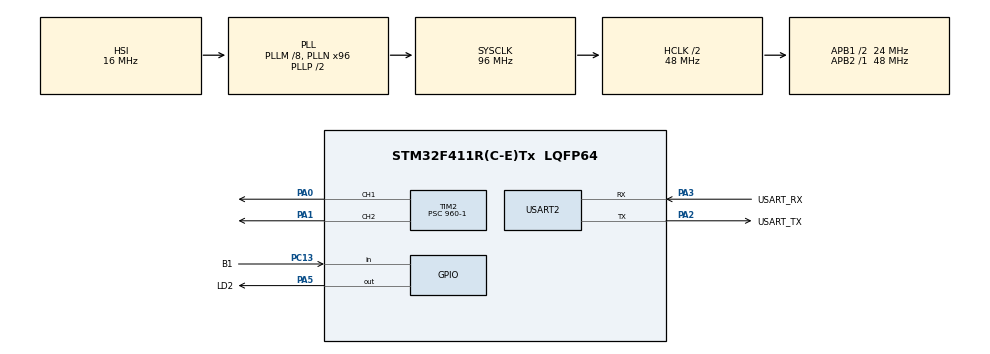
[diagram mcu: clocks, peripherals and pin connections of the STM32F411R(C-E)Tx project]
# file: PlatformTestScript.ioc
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Mcu.Family=STM32F4
Mcu.Name=STM32F411R(C-E)Tx
Mcu.Package=LQFP64
NVIC.PriorityGroup=NVIC_PRIORITYGROUP_0
NVIC.TIM2_IRQn=true\:0\:0\:false\:false\:true\:true\:true\:true
NVIC.USART2_IRQn=true\:0\:0\:false\:false\:true\:true\:true\:true
PA0-WKUP.Signal=S_TIM2_CH1_ETR
PA1.Signal=S_TIM2_CH2
PA13.GPIO_Label=TMS
PA13.Mode=Serial_Wire
PA13.Signal=SYS_JTMS-SWDIO
PA14.GPIO_Label=TCK
PA14.Mode=Serial_Wire
PA14.Signal=SYS_JTCK-SWCLK
PA2.GPIO_Label=USART_TX
PA2.Mode=Asynchronous
PA2.Signal=USART2_TX
PA3.GPIO_Label=USART_RX
PA3.Mode=Asynchronous
PA3.Signal=USART2_RX
PA5.GPIO_Label=LD2
PA5.Signal=GPIO_Output
PB3.GPIO_Label=SWO
PB3.Signal=SYS_JTDO-SWO
PC13-ANTI_TAMP.GPIO_Label=B1
PC13-ANTI_TAMP.Signal=GPIO_Input
PC14-OSC32_IN.Mode=LSE-External-Oscillator
PC14-OSC32_IN.Signal=RCC_OSC32_IN
PC15-OSC32_OUT.Mode=LSE-External-Oscillator
PC15-OSC32_OUT.Signal=RCC_OSC32_OUT
PH0\ -\ OSC_IN.Mode=HSE-External-Oscillator
PH0\ -\ OSC_IN.Signal=RCC_OSC_IN
PH1\ -\ OSC_OUT.Mode=HSE-External-Oscillator
PH1\ -\ OSC_OUT.Signal=RCC_OSC_OUT
ProjectManager.HeapSize=0x200
ProjectManager.StackSize=0x400
ProjectManager.TargetToolchain=STM32CubeIDE
RCC.48MHZClocksFreq_Value=48000000
RCC.AHBCLKDivider=RCC_SYSCLK_DIV2
RCC.AHBFreq_Value=48000000
RCC.APB1CLKDivider=RCC_HCLK_DIV2
RCC.APB1Freq_Value=24000000
RCC.APB1TimFreq_Value=48000000
RCC.APB2Freq_Value=48000000
RCC.APB2TimFreq_Value=48000000
RCC.CortexFreq_Value=48000000
RCC.FLatency-AdvancedSettings=FLASH_LATENCY_1
RCC.HCLKFreq_Value=48000000
RCC.HSE_VALUE=8000000
RCC.HSI_VALUE=16000000
RCC.PLLM=8
RCC.PLLN=96
RCC.SYSCLKFreq_VALUE=96000000
RCC.SYSCLKSource=RCC_SYSCLKSOURCE_PLLCLK
RCC.VCOOutputFreq_Value=192000000
SH.S_TIM2_CH1_ETR.0=TIM2_CH1,PWM Generation1 CH1
SH.S_TIM2_CH2.0=TIM2_CH2,PWM Generation2 CH2
TIM2.Channel-PWM\ Generation1\ CH1=TIM_CHANNEL_1
TIM2.Channel-PWM\ Generation2\ CH2=TIM_CHANNEL_2
TIM2.Period=1000-1
TIM2.Prescaler=960-1
USART2.VirtualMode=VM_ASYNC
VP_TIM2_VS_ClockSourceINT.Mode=Internal
board=NUCLEO-F411RE

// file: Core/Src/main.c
/* USER CODE BEGIN Header */
/**
  ******************************************************************************
  * @file           : main.c
  * @brief          : Main program body
  ******************************************************************************
  * @attention
  *
  * Copyright (c) 2024 STMicroelectronics.
  * All rights reserved.
  *
  * This software is licensed under terms that can be found in the LICENSE file
  * in the root directory of this software component.
  * If no LICENSE file comes with this software, it is provided AS-IS.
  *
  ******************************************************************************
  */
/* USER CODE END Header */
#include "main.h"

TIM_HandleTypeDef htim2;
UART_HandleTypeDef huart2;

/* USER CODE BEGIN PV */
float offset = 0; // Angle of center position relative to servo neutral
float XPos = 90; // Desired X Axis angle, range: -135 to +135
float YPos = 90; // Desired Y Axis angle, range: -135 to +135
// CCR values for the desired X or Y Axis angle
float XValP;
float XValN;
float YValP;
float YValN;
// CCR values for the desired X or Y Axis angle / 2
float XValP2;
float XValN2;
float YValP2;
float YValN2;
/* USER CODE END PV */

void SystemClock_Config(void);
static void MX_GPIO_Init(void);
static void MX_USART2_UART_Init(void);
static void MX_TIM2_Init(void);

int main(void)
{

  /* MCU Configuration--------------------------------------------------------*/

  /* Reset of all peripherals, Initializes the Flash interface and the Systick. */
  HAL_Init();

  /* Configure the system clock */
  SystemClock_Config();

  /* Initialize all configured peripherals */
  MX_GPIO_Init();
  MX_USART2_UART_Init();
  MX_TIM2_Init();
  /* USER CODE BEGIN 2 */
  HAL_TIM_PWM_Start(&htim2, TIM_CHANNEL_1);
  HAL_TIM_PWM_Start(&htim2, TIM_CHANNEL_2);

  /* USER CODE END 2 */

  /* Infinite loop */
  /* USER CODE BEGIN WHILE */
  while (1) {
	  if (HAL_GPIO_ReadPin(B1_GPIO_Port, B1_Pin) == GPIO_PIN_RESET) {
    /* USER CODE END WHILE */

    /* USER CODE BEGIN 3 */
    /* Calculate CCR Values */
    XValP = SERVO_NEUTRAL + (XPos + offset)*(1/2.7); // Calculate CCR value for desired +XPos
    XValN = SERVO_NEUTRAL + (-XPos + offset)*(1/2.7); // Calculate CCR value for desired -XPos
    YValP = SERVO_NEUTRAL + (YPos + offset)*(1/2.7); // Calculate CCR value for desired +YPos
    YValN = SERVO_NEUTRAL + (-YPos + offset)*(1/2.7); // Calculate CCR value for desired -YPos
    XValP2 = SERVO_NEUTRAL + (XPos/2 + offset)*(1/2.7); // Calculate CCR value for desired +XPos
    XValN2 = SERVO_NEUTRAL + (-XPos/2 + offset)*(1/2.7); // Calculate CCR value for desired -XPos
    YValP2 = SERVO_NEUTRAL + (YPos/2 + offset)*(1/2.7); // Calculate CCR value for desired +YPos
    YValN2 = SERVO_NEUTRAL + (-YPos/2 + offset)*(1/2.7); // Calculate CCR value for desired -YPos

    /* Move X-Axis */
    htim2.Instance->CCR_X = XValN; // Move X-Axis to -XPos
    HAL_Delay(3000);
    htim2.Instance->CCR_X = XValP; // Move X-Axis to +XPos
    HAL_Delay(3000);
    htim2.Instance->CCR_X = SERVO_NEUTRAL; // Return X-Axis to Neutral
    HAL_Delay(3000);

    /* Move Y-Axis */
    htim2.Instance->CCR_Y = YValN; // Move Y-Axis to -YPos
    HAL_Delay(3000);
    htim2.Instance->CCR_Y = YValP; // Move Y-Axis to +YPos
    HAL_Delay(3000);
    htim2.Instance->CCR_Y = SERVO_NEUTRAL; // Return Y-Axis to Neutral
    HAL_Delay(3000);

    /* Move Both Axes */
    htim2.Instance->CCR_X = XValN2; // Move X-Axis to -XPos
    htim2.Instance->CCR_Y = YValN2; // Move Y-Axis to -YPos
    HAL_Delay(3000);
    htim2.Instance->CCR_X = XValP2; // Move X-Axis to -XPos
    htim2.Instance->CCR_Y = YValN2; // Move Y-Axis to -YPos
    HAL_Delay(3000);
    htim2.Instance->CCR_X = XValP2; // Move X-Axis to -XPos
    htim2.Instance->CCR_Y = YValP2; // Move Y-Axis to -YPos
    HAL_Delay(3000);
    htim2.Instance->CCR_X = XValN2; // Move X-Axis to +XPos
    htim2.Instance->CCR_Y = YValP2; // Move Y-Axis to +YPos
    HAL_Delay(3000);
    htim2.Instance->CCR_X = SERVO_NEUTRAL; // Return X-Axis to Neutral
    htim2.Instance->CCR_Y = SERVO_NEUTRAL; // Return Y-Axis to Neutral
    HAL_Delay(3000);
    }
  /* USER CODE END 3 */
  }
}
void SystemClock_Config(void)
{
  RCC_OscInitTypeDef RCC_OscInitStruct = {0};
  RCC_ClkInitTypeDef RCC_ClkInitStruct = {0};

  /** Configure the main internal regulator output voltage
  */
  __HAL_RCC_PWR_CLK_ENABLE();
  __HAL_PWR_VOLTAGESCALING_CONFIG(PWR_REGULATOR_VOLTAGE_SCALE1);

  /** Initializes the RCC Oscillators according to the specified parameters
  * in the RCC_OscInitTypeDef structure.
  */
  RCC_OscInitStruct.OscillatorType = RCC_OSCILLATORTYPE_HSI;
  RCC_OscInitStruct.HSIState = RCC_HSI_ON;
  RCC_OscInitStruct.HSICalibrationValue = RCC_HSICALIBRATION_DEFAULT;
  RCC_OscInitStruct.PLL.PLLState = RCC_PLL_ON;
  RCC_OscInitStruct.PLL.PLLSource = RCC_PLLSOURCE_HSI;
  RCC_OscInitStruct.PLL.PLLM = 8;
  RCC_OscInitStruct.PLL.PLLN = 96;
  RCC_OscInitStruct.PLL.PLLP = RCC_PLLP_DIV2;
  RCC_OscInitStruct.PLL.PLLQ = 4;
  if (HAL_RCC_OscConfig(&RCC_OscInitStruct) != HAL_OK)
  {
    Error_Handler();
  }

  /** Initializes the CPU, AHB and APB buses clocks
  */
  RCC_ClkInitStruct.ClockType = RCC_CLOCKTYPE_HCLK|RCC_CLOCKTYPE_SYSCLK
                              |RCC_CLOCKTYPE_PCLK1|RCC_CLOCKTYPE_PCLK2;
  RCC_ClkInitStruct.SYSCLKSource = RCC_SYSCLKSOURCE_PLLCLK;
  RCC_ClkInitStruct.AHBCLKDivider = RCC_SYSCLK_DIV2;
  RCC_ClkInitStruct.APB1CLKDivider = RCC_HCLK_DIV2;
  RCC_ClkInitStruct.APB2CLKDivider = RCC_HCLK_DIV1;

  if (HAL_RCC_ClockConfig(&RCC_ClkInitStruct, FLASH_LATENCY_1) != HAL_OK)
  {
    Error_Handler();
  }
}

static void MX_TIM2_Init(void)
{

  TIM_ClockConfigTypeDef sClockSourceConfig = {0};
  TIM_MasterConfigTypeDef sMasterConfig = {0};
  TIM_OC_InitTypeDef sConfigOC = {0};

  htim2.Instance = TIM2;
  htim2.Init.Prescaler = 960-1;
  htim2.Init.CounterMode = TIM_COUNTERMODE_UP;
  htim2.Init.Period = 1000-1;
  htim2.Init.ClockDivision = TIM_CLOCKDIVISION_DIV1;
  htim2.Init.AutoReloadPreload = TIM_AUTORELOAD_PRELOAD_DISABLE;
  if (HAL_TIM_Base_Init(&htim2) != HAL_OK)
  {
    Error_Handler();
  }
  sClockSourceConfig.ClockSource = TIM_CLOCKSOURCE_INTERNAL;
  if (HAL_TIM_ConfigClockSource(&htim2, &sClockSourceConfig) != HAL_OK)
  {
    Error_Handler();
  }
  if (HAL_TIM_PWM_Init(&htim2) != HAL_OK)
  {
    Error_Handler();
  }
  sMasterConfig.MasterOutputTrigger = TIM_TRGO_RESET;
  sMasterConfig.MasterSlaveMode = TIM_MASTERSLAVEMODE_DISABLE;
  if (HAL_TIMEx_MasterConfigSynchronization(&htim2, &sMasterConfig) != HAL_OK)
  {
    Error_Handler();
  }
  sConfigOC.OCMode = TIM_OCMODE_PWM1;
  sConfigOC.Pulse = 0;
  sConfigOC.OCPolarity = TIM_OCPOLARITY_HIGH;
  sConfigOC.OCFastMode = TIM_OCFAST_DISABLE;
  if (HAL_TIM_PWM_ConfigChannel(&htim2, &sConfigOC, TIM_CHANNEL_1) != HAL_OK)
  {
    Error_Handler();
  }
  if (HAL_TIM_PWM_ConfigChannel(&htim2, &sConfigOC, TIM_CHANNEL_2) != HAL_OK)
  {
    Error_Handler();
  }
  HAL_TIM_MspPostInit(&htim2);

}

static void MX_USART2_UART_Init(void)
{

  huart2.Instance = USART2;
  huart2.Init.BaudRate = 115200;
  huart2.Init.WordLength = UART_WORDLENGTH_8B;
  huart2.Init.StopBits = UART_STOPBITS_1;
  huart2.Init.Parity = UART_PARITY_NONE;
  huart2.Init.Mode = UART_MODE_TX_RX;
  huart2.Init.HwFlowCtl = UART_HWCONTROL_NONE;
  huart2.Init.OverSampling = UART_OVERSAMPLING_16;
  if (HAL_UART_Init(&huart2) != HAL_OK)
  {
    Error_Handler();
  }

}

static void MX_GPIO_Init(void)
{
  GPIO_InitTypeDef GPIO_InitStruct = {0};

  /* GPIO Ports Clock Enable */
  __HAL_RCC_GPIOC_CLK_ENABLE();
  __HAL_RCC_GPIOH_CLK_ENABLE();
  __HAL_RCC_GPIOA_CLK_ENABLE();
  __HAL_RCC_GPIOB_CLK_ENABLE();

  /*Configure GPIO pin Output Level */
  HAL_GPIO_WritePin(LD2_GPIO_Port, LD2_Pin, GPIO_PIN_RESET);

  /*Configure GPIO pin : B1_Pin */
  GPIO_InitStruct.Pin = B1_Pin;
  GPIO_InitStruct.Mode = GPIO_MODE_INPUT;
  GPIO_InitStruct.Pull = GPIO_NOPULL;
  HAL_GPIO_Init(B1_GPIO_Port, &GPIO_InitStruct);

  /*Configure GPIO pin : LD2_Pin */
  GPIO_InitStruct.Pin = LD2_Pin;
  GPIO_InitStruct.Mode = GPIO_MODE_OUTPUT_PP;
  GPIO_InitStruct.Pull = GPIO_NOPULL;
  GPIO_InitStruct.Speed = GPIO_SPEED_FREQ_LOW;
  HAL_GPIO_Init(LD2_GPIO_Port, &GPIO_InitStruct);

}

void Error_Handler(void)
{
  __disable_irq();
  while (1)
  {
  }
}
